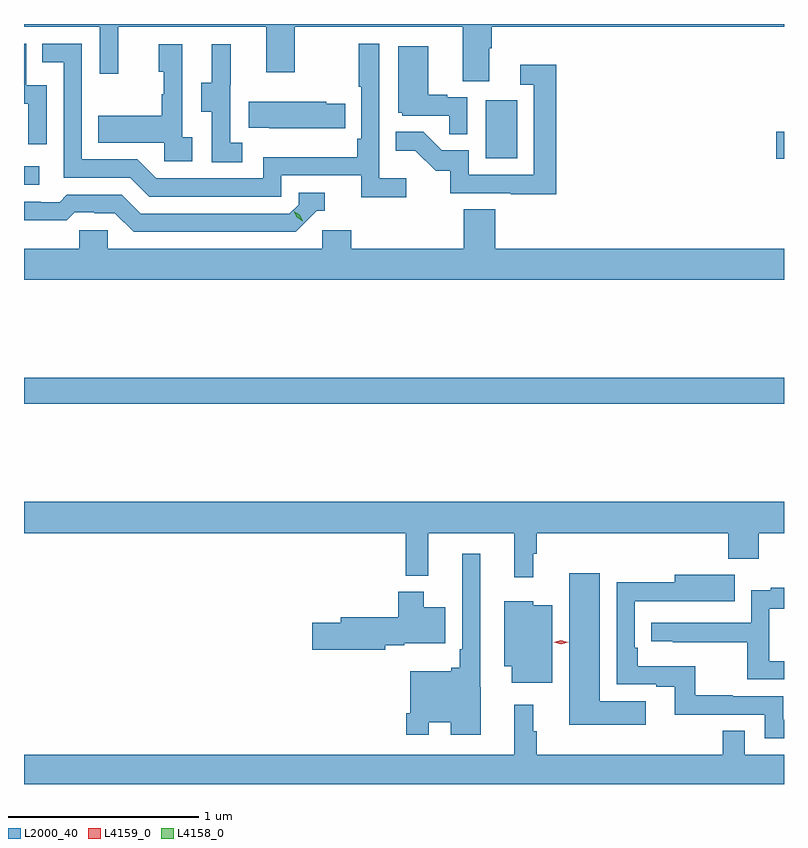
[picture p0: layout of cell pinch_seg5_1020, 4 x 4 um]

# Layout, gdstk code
import gdstk
lib = gdstk.Library(unit=1e-6, precision=1e-09)
def R(c, l, rs):  # rectangles x0, y0, x1, y1
    for r in rs: c.add(gdstk.rectangle(r[:2], r[2:], *l))
def P(c, l, *ps):  # polygons
    for p in ps: c.add(gdstk.Polygon(p, *l))
L2000_40 = (2000, 40)
L4158_0 = (4158, 0)
L4159_0 = (4159, 0)

pinch_seg5_1020 = lib.new_cell('pinch_seg5_1020')
R(pinch_seg5_1020, L2000_40, [(849.355,870.76,853.355,870.896), (849.355,871.914,849.436,872.01), (853.314,872.05,853.355,872.192), (851.786,872.052,851.95,872.359)])
P(pinch_seg5_1020, L2000_40, [(851.803,872.632),(851.816,872.632),(851.816,872.744),(853.355,872.744),(853.355,872.759),(849.355,872.759),(849.355,872.744),(849.753,872.744),(849.753,872.496),(849.851,872.496),(849.851,872.744),(850.631,872.744),(850.631,872.505),(850.779,872.505),(850.779,872.744),(851.663,872.744),(851.663,872.458),(851.803,872.458)],
  [(851.368,871.948),(851.226,871.948),(851.226,872.656),(851.118,872.656),(851.118,872.428),(851.13,872.428),(851.13,872.155),(851.11,872.155),(851.11,872.059),(850.614,872.059),(850.614,871.947),(850.05,871.947),(849.951,872.046),(849.66,872.046),(849.66,872.655),(849.451,872.655),(849.451,872.559),(849.564,872.559),(849.564,871.95),(849.914,871.95),(850.013,871.851),(850.71,871.851),(850.71,871.962),(851.129,871.962),(851.129,871.846),(851.368,871.846)],
  [(849.474,872.436),(849.366,872.436),(849.366,872.655),(849.355,872.655),(849.355,872.339),(849.378,872.339),(849.378,872.127),(849.474,872.127)],
  [(850.504,872.135),(850.44,872.135),(850.44,872.439),(850.442,872.439),(850.442,872.653),(850.343,872.653),(850.343,872.451),(850.289,872.451),(850.289,872.296),(850.344,872.296),(850.344,872.032),(850.504,872.032)],
  [(850.24,872.162),(850.188,872.162),(850.188,872.653),(850.064,872.653),(850.064,872.508),(850.09,872.508),(850.09,872.39),(850.08,872.39),(850.08,872.275),(849.745,872.275),(849.745,872.135),(850.092,872.135),(850.092,872.037),(850.24,872.037)],
  [(851.688,872.373),(851.582,872.373),(851.582,872.386),(851.482,872.386),(851.482,872.641),(851.324,872.641),(851.324,872.292),(851.346,872.292),(851.346,872.277),(851.593,872.277),(851.593,872.179),(851.688,872.179)],
  [(852.155,872.545),(851.967,872.545),(851.967,872.439),(852.039,872.439),(852.039,871.965),(851.697,871.965),(851.697,872.094),(851.553,872.094),(851.455,872.192),(851.311,872.192),(851.311,872.093),(851.415,872.093),(851.522,871.986),(851.599,871.986),(851.599,871.869),(851.917,871.869),(851.917,871.864),(852.155,871.864)],
  [(851.045,872.34),(850.947,872.34),(850.947,872.35),(850.537,872.35),(850.537,872.213),(850.645,872.213),(850.645,872.21),(851.045,872.21)],
  [(850.896,871.776),(850.939,871.776),(850.939,871.872),(850.8,871.872),(850.8,871.809),(850.752,871.761),(849.969,871.761),(849.87,871.86),(849.581,871.86),(849.542,871.821),(849.443,871.821),(849.443,871.824),(849.355,871.824),(849.355,871.725),(849.581,871.725),(849.623,871.767),(849.726,871.767),(849.726,871.764),(849.833,871.764),(849.932,871.665),(850.785,871.665)],
  [(853.355,871.576),(851.834,871.576),(851.834,871.784),(851.669,871.784),(851.669,871.576),(851.078,871.576),(851.078,871.674),(850.926,871.674),(850.926,871.576),(849.795,871.576),(849.795,871.674),(849.645,871.674),(849.645,871.576),(849.355,871.576),(849.355,871.412),(853.355,871.412)],
  [(852.035,869.972),(852.053,869.972),(852.053,870.08),(853.061,870.08),(853.061,869.945),(853.221,869.945),(853.221,870.08),(853.355,870.08),(853.355,870.244),(849.355,870.244),(849.355,870.08),(851.365,870.08),(851.365,869.855),(851.483,869.855),(851.483,870.08),(851.936,870.08),(851.936,869.847),(852.035,869.847)],
  [(851.484,869.084),(851.6,869.084),(851.6,869.019),(851.758,869.019),(851.758,869.267),(851.757,869.267),(851.757,869.971),(851.661,869.971),(851.661,869.467),(851.649,869.467),(851.649,869.371),(851.604,869.371),(851.604,869.353),(851.388,869.353),(851.388,869.131),(851.368,869.131),(851.368,869.019),(851.484,869.019)],
  [(852.628,869.194),(852.385,869.194),(852.385,869.869),(852.224,869.869),(852.224,869.072),(852.628,869.072)],
  [(853.355,869.097),(853.35,869.097),(853.35,869.22),(853.085,869.22),(853.085,869.225),(852.889,869.225),(852.889,869.38),(852.584,869.38),(852.584,869.476),(852.57,869.476),(852.57,869.721),(852.883,869.721),(852.883,869.72),(853.097,869.72),(853.097,869.86),(852.779,869.86),(852.779,869.822),(852.474,869.822),(852.474,869.283),(852.683,869.283),(852.683,869.271),(852.779,869.271),(852.779,869.124),(853.254,869.124),(853.254,869.001),(853.355,869.001)],
  [(853.355,869.406),(853.278,869.406),(853.278,869.682),(853.355,869.682),(853.355,869.791),(853.285,869.791),(853.285,869.779),(853.182,869.779),(853.182,869.607),(852.657,869.607),(852.657,869.511),(852.769,869.511),(852.769,869.506),(853.162,869.506),(853.162,869.31),(853.355,869.31)],
  [(851.256,869.489),(851.356,869.489),(851.356,869.501),(851.572,869.501),(851.572,869.689),(851.458,869.689),(851.458,869.77),(851.324,869.77),(851.324,869.637),(851.021,869.637),(851.021,869.607),(850.872,869.607),(850.872,869.465),(851.256,869.465)],
  [(852.136,869.701),(852.036,869.701),(852.036,869.722),(851.882,869.722),(851.882,869.378),(851.921,869.378),(851.921,869.291),(852.136,869.291)],
  [(853.355,868.912),(853.149,868.912),(853.149,869.039),(853.033,869.039),(853.033,868.912),(852.053,868.912),(852.053,869.036),(852.035,869.036),(852.035,869.176),(851.936,869.176),(851.936,868.912),(849.355,868.912),(849.355,868.759),(853.355,868.759)])
P(pinch_seg5_1020, L4158_0, [(850.822,871.722),(850.791,871.741),(850.775,871.773),(850.775,871.774),(850.775,871.774),(850.806,871.754),(850.822,871.722),(850.822,871.722)])
P(pinch_seg5_1020, L4159_0, [(852.182,869.495),(852.144,869.504),(852.143,869.505),(852.144,869.505),(852.181,869.515),(852.22,869.506),(852.22,869.506),(852.22,869.505)])

lib.write_gds('pinch_seg5_1020.gds')
